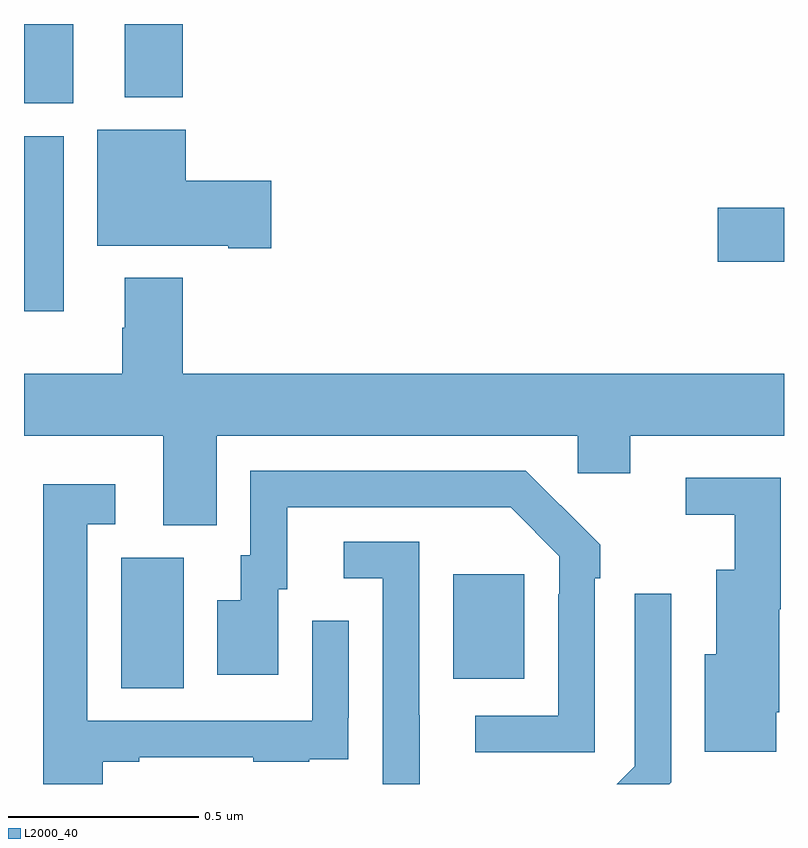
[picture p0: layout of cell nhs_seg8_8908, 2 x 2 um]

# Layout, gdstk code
import gdstk
lib = gdstk.Library(unit=1e-6, precision=1e-09)
def R(c, l, rs):  # rectangles x0, y0, x1, y1
    for r in rs: c.add(gdstk.rectangle(r[:2], r[2:], *l))
def P(c, l, *ps):  # polygons
    for p in ps: c.add(gdstk.Polygon(p, *l))
L2000_40 = (2000, 40)

nhs_seg8_8908 = lib.new_cell('nhs_seg8_8908')
R(nhs_seg8_8908, L2000_40, [(229.256,1133.152,229.42,1133.496), (230.129,1133.177,230.317,1133.452), (229,1134.144,229.105,1134.604), (230.826,1134.274,231,1134.416), (229,1134.692,229.129,1134.9), (229.265,1134.707,229.418,1134.9)])
P(nhs_seg8_8908, L2000_40, [(229.651,1134.488),(229.426,1134.488),(229.426,1134.622),(229.193,1134.622),(229.193,1134.317),(229.538,1134.317),(229.538,1134.31),(229.651,1134.31)],
  [(229.507,1133.816),(230.457,1133.816),(230.457,1133.718),(230.596,1133.718),(230.596,1133.816),(231,1133.816),(231,1133.98),(229.418,1133.98),(229.418,1134.232),(229.265,1134.232),(229.265,1134.101),(229.258,1134.101),(229.258,1133.98),(229,1133.98),(229,1133.816),(229.367,1133.816),(229.367,1133.581),(229.507,1133.581)],
  [(230.502,1133.441),(230.517,1133.441),(230.517,1133.529),(230.412,1133.634),(230.411,1133.633),(230.32,1133.724),(229.596,1133.724),(229.596,1133.502),(229.571,1133.502),(229.571,1133.383),(229.508,1133.383),(229.508,1133.187),(229.669,1133.187),(229.669,1133.412),(229.693,1133.412),(229.693,1133.628),(230.281,1133.628),(230.409,1133.499),(230.409,1133.399),(230.406,1133.399),(230.406,1133.079),(230.187,1133.079),(230.187,1132.983),(230.502,1132.983)],
  [(230.98,1133.089),(230.988,1133.089),(230.988,1133.36),(230.992,1133.36),(230.992,1133.706),(230.742,1133.706),(230.742,1133.609),(230.871,1133.609),(230.871,1133.464),(230.822,1133.464),(230.822,1133.242),(230.792,1133.242),(230.792,1132.985),(230.98,1132.985)],
  [(229.207,1132.959),(229.303,1132.959),(229.303,1132.971),(229.603,1132.971),(229.603,1132.959),(229.751,1132.959),(229.751,1132.965),(229.853,1132.965),(229.853,1133.074),(229.854,1133.074),(229.854,1133.329),(229.758,1133.329),(229.758,1133.067),(229.167,1133.067),(229.167,1133.583),(229.24,1133.583),(229.24,1133.689),(229.051,1133.689),(229.051,1132.9),(229.207,1132.9)],
  [(230.041,1133.081),(230.04,1133.081),(230.04,1133.538),(229.842,1133.538),(229.842,1133.442),(229.944,1133.442),(229.944,1132.9),(230.041,1132.9)],
  [(230.703,1132.905),(230.703,1133.401),(230.607,1133.401),(230.607,1132.947),(230.56,1132.9),(230.698,1132.9)])

lib.write_gds('nhs_seg8_8908.gds')
